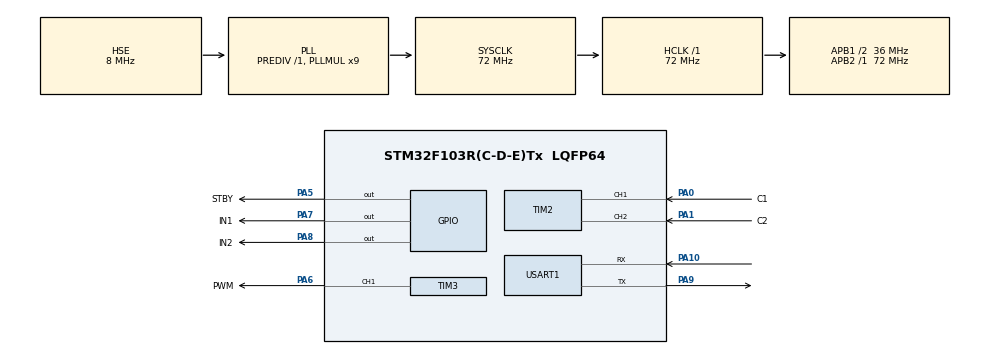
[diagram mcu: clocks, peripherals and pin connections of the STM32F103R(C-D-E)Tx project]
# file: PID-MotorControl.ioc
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Dma.Request0=USART1_TX
Dma.Request1=USART1_RX
Dma.USART1_RX.1.Direction=DMA_PERIPH_TO_MEMORY
Dma.USART1_RX.1.Instance=DMA1_Channel5
Dma.USART1_RX.1.MemDataAlignment=DMA_MDATAALIGN_BYTE
Dma.USART1_RX.1.MemInc=DMA_MINC_ENABLE
Dma.USART1_RX.1.Mode=DMA_NORMAL
Dma.USART1_RX.1.PeriphDataAlignment=DMA_PDATAALIGN_BYTE
Dma.USART1_RX.1.PeriphInc=DMA_PINC_DISABLE
Dma.USART1_RX.1.Priority=DMA_PRIORITY_LOW
Dma.USART1_TX.0.Direction=DMA_MEMORY_TO_PERIPH
Dma.USART1_TX.0.Instance=DMA1_Channel4
Dma.USART1_TX.0.MemDataAlignment=DMA_MDATAALIGN_BYTE
Dma.USART1_TX.0.MemInc=DMA_MINC_ENABLE
Dma.USART1_TX.0.Mode=DMA_NORMAL
Dma.USART1_TX.0.PeriphDataAlignment=DMA_PDATAALIGN_BYTE
Dma.USART1_TX.0.PeriphInc=DMA_PINC_DISABLE
Dma.USART1_TX.0.Priority=DMA_PRIORITY_LOW
Mcu.Family=STM32F1
Mcu.Name=STM32F103R(C-D-E)Tx
Mcu.Package=LQFP64
NVIC.DMA1_Channel4_IRQn=true\:0\:0\:false\:false\:true\:false\:true\:true
NVIC.DMA1_Channel5_IRQn=true\:0\:0\:false\:false\:true\:false\:true\:true
NVIC.PriorityGroup=NVIC_PRIORITYGROUP_4
NVIC.TIM4_IRQn=true\:0\:0\:false\:false\:true\:true\:true\:true
NVIC.USART1_IRQn=true\:0\:0\:false\:false\:true\:true\:true\:true
PA0-WKUP.GPIO_Label=C1
PA0-WKUP.Signal=S_TIM2_CH1_ETR
PA1.GPIO_Label=C2
PA1.Signal=S_TIM2_CH2
PA10.Mode=Asynchronous
PA10.Signal=USART1_RX
PA13.Mode=Serial_Wire
PA13.Signal=SYS_JTMS-SWDIO
PA14.Mode=Serial_Wire
PA14.Signal=SYS_JTCK-SWCLK
PA5.GPIO_Label=STBY
PA5.GPIO_Speed=GPIO_SPEED_FREQ_HIGH
PA5.Signal=GPIO_Output
PA6.GPIO_Label=PWM
PA6.Signal=S_TIM3_CH1
PA7.GPIO_Label=IN1
PA7.GPIO_Speed=GPIO_SPEED_FREQ_HIGH
PA7.Signal=GPIO_Output
PA8.GPIO_Label=IN2
PA8.GPIO_Speed=GPIO_SPEED_FREQ_HIGH
PA8.Signal=GPIO_Output
PA9.Mode=Asynchronous
PA9.Signal=USART1_TX
PD0-OSC_IN.Mode=HSE-External-Oscillator
PD0-OSC_IN.Signal=RCC_OSC_IN
PD1-OSC_OUT.Mode=HSE-External-Oscillator
PD1-OSC_OUT.Signal=RCC_OSC_OUT
ProjectManager.HeapSize=0x200
ProjectManager.StackSize=0x400
ProjectManager.TargetToolchain=MDK-ARM V5
RCC.AHBFreq_Value=72000000
RCC.APB1CLKDivider=RCC_HCLK_DIV2
RCC.APB1Freq_Value=36000000
RCC.APB1TimFreq_Value=72000000
RCC.APB2Freq_Value=72000000
RCC.APB2TimFreq_Value=72000000
RCC.HCLKFreq_Value=72000000
RCC.PLLMUL=RCC_PLL_MUL9
RCC.PLLSourceVirtual=RCC_PLLSOURCE_HSE
RCC.SYSCLKFreq_VALUE=72000000
RCC.SYSCLKSource=RCC_SYSCLKSOURCE_PLLCLK
RCC.USBFreq_Value=72000000
SH.S_TIM2_CH1_ETR.0=TIM2_CH1,Encoder_Interface
SH.S_TIM2_CH2.0=TIM2_CH2,Encoder_Interface
SH.S_TIM3_CH1.0=TIM3_CH1,PWM Generation1 CH1
TIM2.EncoderMode=TIM_ENCODERMODE_TI12
TIM2.IC1Filter=15
TIM2.IC2Filter=15
TIM2.IC2Polarity=TIM_ICPOLARITY_FALLING
TIM3.Channel-PWM\ Generation1\ CH1=TIM_CHANNEL_1
TIM3.Period=1000-1
TIM3.Prescaler=72-1
TIM3.Pulse-PWM\ Generation1\ CH1=500
TIM4.Prescaler=7200-1
USART1.VirtualMode=VM_ASYNC
VP_TIM3_VS_ClockSourceINT.Mode=Internal
VP_TIM4_VS_ClockSourceINT.Mode=Internal
board=custom

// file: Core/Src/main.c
/* USER CODE BEGIN Header */
/**
 ******************************************************************************
 * @file           : main.c
 * @brief          : Main program body
 ******************************************************************************
 * @attention
 *
 * Copyright (c) 2026 STMicroelectronics.
 * All rights reserved.
 *
 * This software is licensed under terms that can be found in the LICENSE file
 * in the root directory of this software component.
 * If no LICENSE file comes with this software, it is provided AS-IS.
 *
 ******************************************************************************
 */
/* USER CODE END Header */
#include "main.h"

TIM_HandleTypeDef htim2;
TIM_HandleTypeDef htim3;
TIM_HandleTypeDef htim4;

UART_HandleTypeDef huart1;
DMA_HandleTypeDef hdma_usart1_tx;
DMA_HandleTypeDef hdma_usart1_rx;

/* USER CODE BEGIN PV */

char message[50];
char send_message[128];
PID_Motor_t Motor;
uint32_t send_tick;

/* USER CODE END PV */

void SystemClock_Config(void);
static void MX_GPIO_Init(void);
static void MX_DMA_Init(void);
static void MX_USART1_UART_Init(void);
static void MX_TIM2_Init(void);
static void MX_TIM3_Init(void);
static void MX_TIM4_Init(void);

/* USER CODE BEGIN 0 */

void HAL_UARTEx_RxEventCallback(UART_HandleTypeDef *huart, uint16_t Size)
{
  if (huart == &huart1)
  {
    float val = 0.f;
    if (sscanf(message, "kp=%f\n", &val) == 1)
    {
      Motor.kp = val;
      HAL_UART_Transmit_DMA(&huart1, "kp set", 7);
    }
    else if (sscanf(message, "ki=%f\n", &val) == 1)
    {
      Motor.ki = val;
      HAL_UART_Transmit_DMA(&huart1, "ki set", 7);
    }
    else if (sscanf(message, "kd=%f\n", &val) == 1)
    {
      Motor.kd = val;
      HAL_UART_Transmit_DMA(&huart1, "kd set", 7);
    }

    else if (sscanf(message, "pos_kp=%f\n", &val) == 1)
    {
      Motor.pos_kp = val;
      HAL_UART_Transmit_DMA(&huart1, "pos kp set", 11);
    }
    else if (sscanf(message, "pos_ki=%f\n", &val) == 1)
    {
      Motor.pos_ki = val;
      HAL_UART_Transmit_DMA(&huart1, "pos ki set", 11);
    }
    else if (sscanf(message, "pos_kd=%f\n", &val) == 1)
    {
      Motor.pos_kd = val;
      HAL_UART_Transmit_DMA(&huart1, "pos kd set", 11);
    }

    else if (sscanf(message, "speed=%f\n", &val) == 1)
    {
      PID_Motor_Set_Target(&Motor, val);
      HAL_UART_Transmit_DMA(&huart1, "speed set", 10);
    }
    else if (sscanf(message, "pos=%f\n", &val) == 1)
    {
      PID_Motor_Set_Pos(&Motor, val);
      HAL_UART_Transmit_DMA(&huart1, "position set", 13);
    }

    HAL_UARTEx_ReceiveToIdle_DMA(&huart1, (uint8_t *)message, sizeof(message));
    __HAL_DMA_DISABLE_IT(&hdma_usart1_rx, DMA_IT_HT);
  }
}

void HAL_TIM_PeriodElapsedCallback(TIM_HandleTypeDef *htim)
{
  if (htim == &htim4)
  {
    PID_Motor_Get_Infos(&Motor);
    PID_Motor_Pos_Control(&Motor);
    PID_Motor_Control(&Motor);
  }
}

/* USER CODE END 0 */

int main(void)
{

  /* MCU Configuration--------------------------------------------------------*/

  /* Reset of all peripherals, Initializes the Flash interface and the Systick. */
  HAL_Init();

  /* Configure the system clock */
  SystemClock_Config();

  /* Initialize all configured peripherals */
  MX_GPIO_Init();
  MX_DMA_Init();
  MX_USART1_UART_Init();
  MX_TIM2_Init();
  MX_TIM3_Init();
  MX_TIM4_Init();
  /* USER CODE BEGIN 2 */

  HAL_UARTEx_ReceiveToIdle_DMA(&huart1, (uint8_t *)message, sizeof(message));
  __HAL_DMA_DISABLE_IT(&hdma_usart1_rx, DMA_IT_HT);

  PID_Motor_Init(&Motor, &htim2, &htim3, &htim4, TIM_CHANNEL_1,
                 IN1_GPIO_Port, IN1_Pin, IN2_GPIO_Port, IN2_Pin,
                 STBY_GPIO_Port, STBY_Pin, 30.f, 11.f, 4.f, 250.f, 50,
                 1, 1, 0.1, 1000, 20, 0, 0, 1000);

  /* USER CODE END 2 */

  /* Infinite loop */
  /* USER CODE BEGIN WHILE */
  while (1)
  {
    if (HAL_GetTick() - send_tick >= Motor.speed_test_period_ms)
    {
      if (huart1.gState == HAL_UART_STATE_READY)
      {
        send_tick = HAL_GetTick();
        sprintf(send_message, "pwm,spd,tgspd,pos,tgpos:%d,%.2f,%.2f,%.2f,%.2f\n",
                Motor.pwm_output, Motor.current_rpm, Motor.target_rpm,
                Motor.current_position, Motor.target_position);
        HAL_UART_Transmit_DMA(&huart1, (uint8_t *)send_message, strlen(send_message));
      }
    }

    /* USER CODE END WHILE */

  }
}

void SystemClock_Config(void)
{
  RCC_OscInitTypeDef RCC_OscInitStruct = {0};
  RCC_ClkInitTypeDef RCC_ClkInitStruct = {0};

  /** Initializes the RCC Oscillators according to the specified parameters
   * in the RCC_OscInitTypeDef structure.
   */
  RCC_OscInitStruct.OscillatorType = RCC_OSCILLATORTYPE_HSE;
  RCC_OscInitStruct.HSEState = RCC_HSE_ON;
  RCC_OscInitStruct.HSEPredivValue = RCC_HSE_PREDIV_DIV1;
  RCC_OscInitStruct.HSIState = RCC_HSI_ON;
  RCC_OscInitStruct.PLL.PLLState = RCC_PLL_ON;
  RCC_OscInitStruct.PLL.PLLSource = RCC_PLLSOURCE_HSE;
  RCC_OscInitStruct.PLL.PLLMUL = RCC_PLL_MUL9;
  if (HAL_RCC_OscConfig(&RCC_OscInitStruct) != HAL_OK)
  {
    Error_Handler();
  }

  /** Initializes the CPU, AHB and APB buses clocks
   */
  RCC_ClkInitStruct.ClockType = RCC_CLOCKTYPE_HCLK | RCC_CLOCKTYPE_SYSCLK | RCC_CLOCKTYPE_PCLK1 | RCC_CLOCKTYPE_PCLK2;
  RCC_ClkInitStruct.SYSCLKSource = RCC_SYSCLKSOURCE_PLLCLK;
  RCC_ClkInitStruct.AHBCLKDivider = RCC_SYSCLK_DIV1;
  RCC_ClkInitStruct.APB1CLKDivider = RCC_HCLK_DIV2;
  RCC_ClkInitStruct.APB2CLKDivider = RCC_HCLK_DIV1;

  if (HAL_RCC_ClockConfig(&RCC_ClkInitStruct, FLASH_LATENCY_2) != HAL_OK)
  {
    Error_Handler();
  }
}

static void MX_TIM2_Init(void)
{

  TIM_Encoder_InitTypeDef sConfig = {0};
  TIM_MasterConfigTypeDef sMasterConfig = {0};

  htim2.Instance = TIM2;
  htim2.Init.Prescaler = 0;
  htim2.Init.CounterMode = TIM_COUNTERMODE_UP;
  htim2.Init.Period = 65535;
  htim2.Init.ClockDivision = TIM_CLOCKDIVISION_DIV1;
  htim2.Init.AutoReloadPreload = TIM_AUTORELOAD_PRELOAD_DISABLE;
  sConfig.EncoderMode = TIM_ENCODERMODE_TI12;
  sConfig.IC1Polarity = TIM_ICPOLARITY_RISING;
  sConfig.IC1Selection = TIM_ICSELECTION_DIRECTTI;
  sConfig.IC1Prescaler = TIM_ICPSC_DIV1;
  sConfig.IC1Filter = 15;
  sConfig.IC2Polarity = TIM_ICPOLARITY_FALLING;
  sConfig.IC2Selection = TIM_ICSELECTION_DIRECTTI;
  sConfig.IC2Prescaler = TIM_ICPSC_DIV1;
  sConfig.IC2Filter = 15;
  if (HAL_TIM_Encoder_Init(&htim2, &sConfig) != HAL_OK)
  {
    Error_Handler();
  }
  sMasterConfig.MasterOutputTrigger = TIM_TRGO_RESET;
  sMasterConfig.MasterSlaveMode = TIM_MASTERSLAVEMODE_DISABLE;
  if (HAL_TIMEx_MasterConfigSynchronization(&htim2, &sMasterConfig) != HAL_OK)
  {
    Error_Handler();
  }
}

static void MX_TIM3_Init(void)
{

  TIM_ClockConfigTypeDef sClockSourceConfig = {0};
  TIM_MasterConfigTypeDef sMasterConfig = {0};
  TIM_OC_InitTypeDef sConfigOC = {0};

  htim3.Instance = TIM3;
  htim3.Init.Prescaler = 72 - 1;
  htim3.Init.CounterMode = TIM_COUNTERMODE_UP;
  htim3.Init.Period = 1000 - 1;
  htim3.Init.ClockDivision = TIM_CLOCKDIVISION_DIV1;
  htim3.Init.AutoReloadPreload = TIM_AUTORELOAD_PRELOAD_DISABLE;
  if (HAL_TIM_Base_Init(&htim3) != HAL_OK)
  {
    Error_Handler();
  }
  sClockSourceConfig.ClockSource = TIM_CLOCKSOURCE_INTERNAL;
  if (HAL_TIM_ConfigClockSource(&htim3, &sClockSourceConfig) != HAL_OK)
  {
    Error_Handler();
  }
  if (HAL_TIM_PWM_Init(&htim3) != HAL_OK)
  {
    Error_Handler();
  }
  sMasterConfig.MasterOutputTrigger = TIM_TRGO_RESET;
  sMasterConfig.MasterSlaveMode = TIM_MASTERSLAVEMODE_DISABLE;
  if (HAL_TIMEx_MasterConfigSynchronization(&htim3, &sMasterConfig) != HAL_OK)
  {
    Error_Handler();
  }
  sConfigOC.OCMode = TIM_OCMODE_PWM1;
  sConfigOC.Pulse = 500;
  sConfigOC.OCPolarity = TIM_OCPOLARITY_HIGH;
  sConfigOC.OCFastMode = TIM_OCFAST_DISABLE;
  if (HAL_TIM_PWM_ConfigChannel(&htim3, &sConfigOC, TIM_CHANNEL_1) != HAL_OK)
  {
    Error_Handler();
  }
  HAL_TIM_MspPostInit(&htim3);
}

static void MX_TIM4_Init(void)
{

  TIM_ClockConfigTypeDef sClockSourceConfig = {0};
  TIM_MasterConfigTypeDef sMasterConfig = {0};

  htim4.Instance = TIM4;
  htim4.Init.Prescaler = 7200 - 1;
  htim4.Init.CounterMode = TIM_COUNTERMODE_UP;
  htim4.Init.Period = 65535;
  htim4.Init.ClockDivision = TIM_CLOCKDIVISION_DIV1;
  htim4.Init.AutoReloadPreload = TIM_AUTORELOAD_PRELOAD_DISABLE;
  if (HAL_TIM_Base_Init(&htim4) != HAL_OK)
  {
    Error_Handler();
  }
  sClockSourceConfig.ClockSource = TIM_CLOCKSOURCE_INTERNAL;
  if (HAL_TIM_ConfigClockSource(&htim4, &sClockSourceConfig) != HAL_OK)
  {
    Error_Handler();
  }
  sMasterConfig.MasterOutputTrigger = TIM_TRGO_RESET;
  sMasterConfig.MasterSlaveMode = TIM_MASTERSLAVEMODE_DISABLE;
  if (HAL_TIMEx_MasterConfigSynchronization(&htim4, &sMasterConfig) != HAL_OK)
  {
    Error_Handler();
  }
}

static void MX_USART1_UART_Init(void)
{

  huart1.Instance = USART1;
  huart1.Init.BaudRate = 115200;
  huart1.Init.WordLength = UART_WORDLENGTH_8B;
  huart1.Init.StopBits = UART_STOPBITS_1;
  huart1.Init.Parity = UART_PARITY_NONE;
  huart1.Init.Mode = UART_MODE_TX_RX;
  huart1.Init.HwFlowCtl = UART_HWCONTROL_NONE;
  huart1.Init.OverSampling = UART_OVERSAMPLING_16;
  if (HAL_UART_Init(&huart1) != HAL_OK)
  {
    Error_Handler();
  }
}

static void MX_DMA_Init(void)
{

  /* DMA controller clock enable */
  __HAL_RCC_DMA1_CLK_ENABLE();

  /* DMA interrupt init */
  /* DMA1_Channel4_IRQn interrupt configuration */
  HAL_NVIC_SetPriority(DMA1_Channel4_IRQn, 0, 0);
  HAL_NVIC_EnableIRQ(DMA1_Channel4_IRQn);
  /* DMA1_Channel5_IRQn interrupt configuration */
  HAL_NVIC_SetPriority(DMA1_Channel5_IRQn, 0, 0);
  HAL_NVIC_EnableIRQ(DMA1_Channel5_IRQn);
}

static void MX_GPIO_Init(void)
{
  GPIO_InitTypeDef GPIO_InitStruct = {0};

  /* GPIO Ports Clock Enable */
  __HAL_RCC_GPIOD_CLK_ENABLE();
  __HAL_RCC_GPIOA_CLK_ENABLE();

  /*Configure GPIO pin Output Level */
  HAL_GPIO_WritePin(GPIOA, STBY_Pin | IN1_Pin | IN2_Pin, GPIO_PIN_RESET);

  /*Configure GPIO pins : STBY_Pin IN1_Pin IN2_Pin */
  GPIO_InitStruct.Pin = STBY_Pin | IN1_Pin | IN2_Pin;
  GPIO_InitStruct.Mode = GPIO_MODE_OUTPUT_PP;
  GPIO_InitStruct.Pull = GPIO_NOPULL;
  GPIO_InitStruct.Speed = GPIO_SPEED_FREQ_HIGH;
  HAL_GPIO_Init(GPIOA, &GPIO_InitStruct);

}

void Error_Handler(void)
{
  __disable_irq();
  while (1)
  {
  }
}
